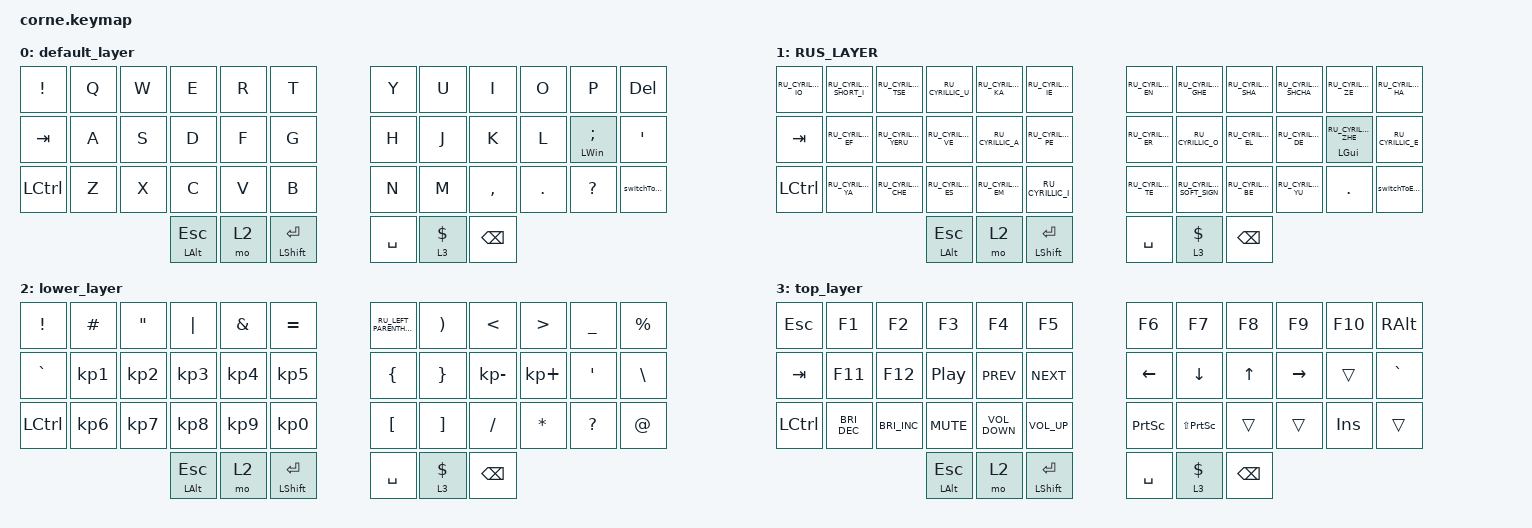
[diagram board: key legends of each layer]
/*
 * Copyright (c) 2020 The ZMK Contributors
 *
 * SPDX-License-Identifier: MIT
 */

#include "keys_ru.h"
#include <behaviors.dtsi>
#include <dt-bindings/zmk/bt.h>
#include <dt-bindings/zmk/ext_power.h>
#include <dt-bindings/zmk/keys.h>

#define DEFAULT 0
#define LOWER   1
#define RAISE   2
#define TOP     3

/ {
    combos {
        compatible = "zmk,combos";

        resetBluetoothConnections {
            bindings = <&bt BT_CLR_ALL>;
            key-positions = <24 2 1>;
        };

        clearAllBluetoothRitght {
            bindings = <&bt BT_CLR_ALL>;
            key-positions = <41 10 9>;
        };

        bootloader {
            bindings = <&bootloader>;
            key-positions = <12 0 24>;
        };

        bootLoaderForRight {
            bindings = <&bootloader>;
            key-positions = <11 23 35>;
        };

        poweron {
            bindings = <&ext_power EP_ON>;
            key-positions = <0 5 36>;
        };

        powerOff {
            bindings = <&ext_power EP_OFF>;
            key-positions = <38 37 29 17>;
        };
    };

    behaviors {
        qq: qq {
            compatible = "zmk,behavior-mod-morph";
            label = "QQ";
            bindings = <&kp Q>, <&kp EXCLAMATION>;

            #binding-cells = <0>;
            mods = <(MOD_LCTL|MOD_LALT|MOD_LSFT|MOD_LGUI)>;
        };

        ww: ww {
            compatible = "zmk,behavior-mod-morph";
            label = "WW";
            bindings = <&kp W>, <&kp AT_SIGN>;

            #binding-cells = <0>;
            mods = <(MOD_LCTL|MOD_LALT|MOD_LSFT|MOD_LGUI)>;
        };

        ee: ee {
            compatible = "zmk,behavior-mod-morph";
            label = "EE";
            bindings = <&kp E>, <&kp HASH>;

            #binding-cells = <0>;
            mods = <(MOD_LCTL|MOD_LALT|MOD_LSFT|MOD_LGUI)>;
        };

        rr: rr {
            compatible = "zmk,behavior-mod-morph";
            label = "RR";
            bindings = <&kp R>, <&kp DOLLAR>;

            #binding-cells = <0>;
            mods = <(MOD_LCTL|MOD_LALT|MOD_LSFT|MOD_LGUI)>;
        };

        tt: tt {
            compatible = "zmk,behavior-mod-morph";
            label = "TT";
            bindings = <&kp T>, <&kp PERCENT>;

            #binding-cells = <0>;
            mods = <(MOD_LCTL|MOD_LALT|MOD_LSFT|MOD_LGUI)>;
        };

        yy: yy {
            compatible = "zmk,behavior-mod-morph";
            label = "YY";
            bindings = <&kp Y>, <&kp CARET>;

            #binding-cells = <0>;
            mods = <(MOD_LCTL|MOD_LALT|MOD_LSFT|MOD_LGUI)>;
        };

        uu: uu {
            compatible = "zmk,behavior-mod-morph";
            label = "UU";
            bindings = <&kp U>, <&kp AMPERSAND>;

            #binding-cells = <0>;
            mods = <(MOD_LCTL|MOD_LALT|MOD_LSFT|MOD_LGUI)>;
        };

        ii: ii {
            compatible = "zmk,behavior-mod-morph";
            label = "II";
            bindings = <&kp I>, <&kp ASTERISK>;

            #binding-cells = <0>;
            mods = <(MOD_LCTL|MOD_LALT|MOD_LSFT|MOD_LGUI)>;
        };

        oo: oo {
            compatible = "zmk,behavior-mod-morph";
            label = "OO";
            bindings = <&kp O>, <&kp LEFT_PARENTHESIS>;

            #binding-cells = <0>;
            mods = <(MOD_LCTL|MOD_LALT|MOD_LSFT|MOD_LGUI)>;
        };

        pp: pp {
            compatible = "zmk,behavior-mod-morph";
            label = "PP";
            bindings = <&kp P>, <&kp RIGHT_PARENTHESIS>;

            #binding-cells = <0>;
            mods = <(MOD_LCTL|MOD_LALT|MOD_LSFT|MOD_LGUI)>;
        };
    };

    macros {
        switchToRusLayout: switchToRusLayout {
            compatible = "zmk,behavior-macro";
            #binding-cells = <0>;
            bindings = <&kp LA(LSHFT) &to 1>;
            label = "SWITCHTORUSLAYOUT";
        };

        switchToEngLayout: switchToEngLayout {
            compatible = "zmk,behavior-macro";
            #binding-cells = <0>;
            bindings = <&kp LA(LSHIFT) &to 0>;
            label = "SWITCHTOENGLAYOUT";
        };
    };

    keymap {
        compatible = "zmk,keymap";

        default_layer {
            bindings = <
&kp EXCL   &kp Q  &kp W  &kp E             &kp R  &kp T               &kp Y      &kp U         &kp I          &kp O    &kp P               &kp DEL
&kp TAB    &kp A  &kp S  &kp D             &kp F  &kp G               &kp H      &kp J         &kp K          &kp L    &mt LWIN SEMICOLON  &kp SQT
&kp LCTRL  &kp Z  &kp X  &kp C             &kp V  &kp B               &kp N      &kp M         &kp COMMA      &kp DOT  &kp QUESTION        &switchToRusLayout
                         &mt LEFT_ALT ESC  &mo 2  &mt LSHIFT ENTER    &kp SPACE  &lt 3 DOLLAR  &kp BACKSPACE
            >;
        };

        RUS_LAYER {
            bindings = <
&kp RU_CYRILLIC_IO  &kp RU_CYRILLIC_SHORT_I  &kp RU_CYRILLIC_TSE   &kp RU_CYRILLIC_U   &kp RU_CYRILLIC_KA  &kp RU_CYRILLIC_IE      &kp RU_CYRILLIC_EN  &kp RU_CYRILLIC_GHE        &kp RU_CYRILLIC_SHA  &kp RU_CYRILLIC_SHCHA  &kp RU_CYRILLIC_ZE        &kp RU_CYRILLIC_HA
&kp TAB             &kp RU_CYRILLIC_EF       &kp RU_CYRILLIC_YERU  &kp RU_CYRILLIC_VE  &kp RU_CYRILLIC_A   &kp RU_CYRILLIC_PE      &kp RU_CYRILLIC_ER  &kp RU_CYRILLIC_O          &kp RU_CYRILLIC_EL   &kp RU_CYRILLIC_DE     &mt LGUI RU_CYRILLIC_ZHE  &kp RU_CYRILLIC_E
&kp LCTRL           &kp RU_CYRILLIC_YA       &kp RU_CYRILLIC_CHE   &kp RU_CYRILLIC_ES  &kp RU_CYRILLIC_EM  &kp RU_CYRILLIC_I       &kp RU_CYRILLIC_TE  &kp RU_CYRILLIC_SOFT_SIGN  &kp RU_CYRILLIC_BE   &kp RU_CYRILLIC_YU     &kp DOT                   &switchToEngLayout
                                                                   &mt LEFT_ALT ESC    &mo 2               &mt LEFT_SHIFT ENTER    &kp SPACE           &lt 3 DOLLAR               &kp BACKSPACE
            >;
        };

        lower_layer {
            bindings = <
&kp EXCLAMATION  &kp HASH         &kp DQT          &kp PIPE          &kp AMPS         &kp EQUAL          &kp RU_LEFT_PARENTHESIS  &kp RIGHT_PARENTHESIS  &kp LESS_THAN  &kp GREATER_THAN  &kp UNDER     &kp PERCENT
&kp GRAVE        &kp KP_NUMBER_1  &kp KP_NUMBER_2  &kp KP_NUMBER_3   &kp KP_NUMBER_4  &kp KP_NUMBER_5    &kp LEFT_BRACE           &kp RIGHT_BRACE        &kp KP_MINUS   &kp KP_PLUS       &kp SQT       &kp BSLH
&kp LCTRL        &kp KP_NUMBER_6  &kp KP_NUMBER_7  &kp KP_NUMBER_8   &kp KP_NUMBER_9  &kp KP_NUMBER_0    &kp LEFT_BRACKET         &kp RIGHT_BRACKET      &kp SLASH      &kp ASTRK         &kp QUESTION  &kp AT_SIGN
                                                   &mt LEFT_ALT ESC  &mo 2            &mt LSHFT ENTER    &kp SPACE                &lt 3 DOLLAR           &kp BACKSPACE
            >;
        };

        top_layer {
            // -----------------------------------------------------------------------------------------
            // |  TAB |  BRIGHT_UP  |  BRIGHT_DOWN  |  VOL_DOWN  |  VOL_UP  |  MUTE  |      |  -  |  7  |  8  |  9  |  +  | BKSP |
            // | CTRL |             |               |             |         |        |      |  .  |  4  |  5  |  6  |  -  |  `   |
            // | SHFT |             |              |             |          |        |      |  0  |  1  |  2  |  3  |  *  |  /   |
            //                      |              |             |          |         |     |     |     |

            bindings = <
&kp ESC    &kp F1                &kp F2                &kp F3            &kp F4             &kp F5                  &kp F6           &kp F7               &kp F8         &kp F9     &kp F10     &kp RALT
&kp TAB    &kp F11               &kp F12               &kp C_PLAY_PAUSE  &kp C_PREV         &kp C_NEXT              &kp LEFT         &kp DOWN             &kp UP         &kp RIGHT  &trans      &kp GRAVE
&kp LCTRL  &kp C_BRIGHTNESS_DEC  &kp C_BRIGHTNESS_INC  &kp K_MUTE        &kp C_VOLUME_DOWN  &kp C_VOLUME_UP         &kp PRINTSCREEN  &kp LS(PRINTSCREEN)  &trans         &trans     &kp INSERT  &trans
                                                       &mt LALT ESC      &mo 2              &mt LEFT_SHIFT ENTER    &kp SPACE        &lt 3 DOLLAR         &kp BACKSPACE
            >;
        };
    };
};
